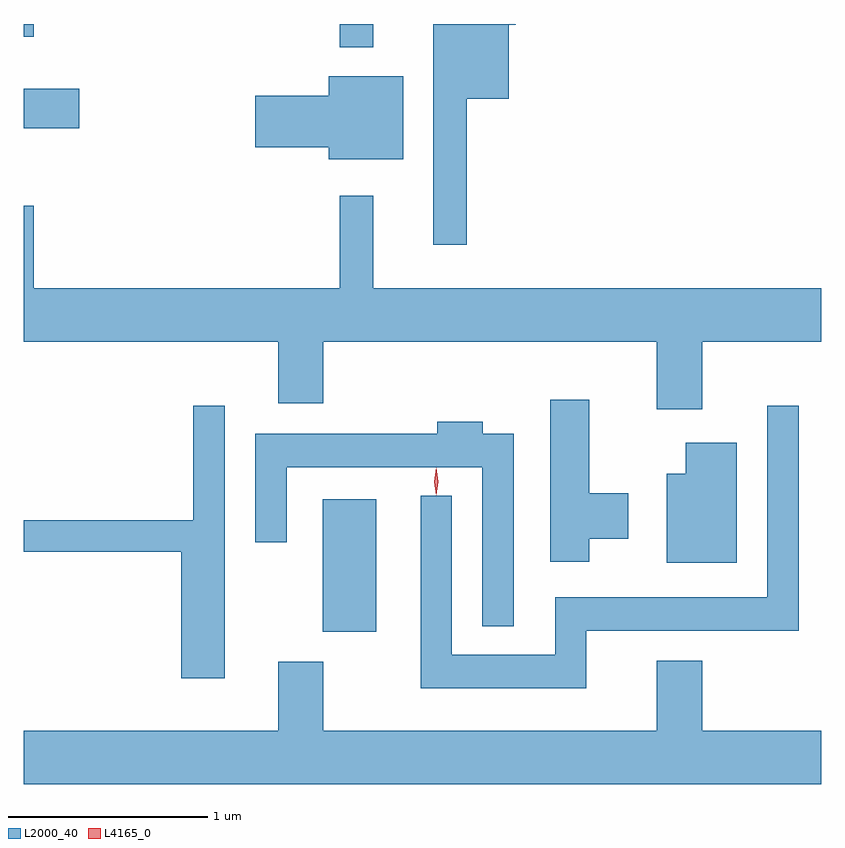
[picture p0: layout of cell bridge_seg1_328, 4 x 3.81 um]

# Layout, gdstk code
import gdstk
lib = gdstk.Library(unit=1e-6, precision=1e-09)
def R(c, l, rs):  # rectangles x0, y0, x1, y1
    for r in rs: c.add(gdstk.rectangle(r[:2], r[2:], *l))
def P(c, l, *ps):  # polygons
    for p in ps: c.add(gdstk.Polygon(p, *l))
L2000_40 = (2000, 40)
L4165_0 = (4165, 0)

bridge_seg1_328 = lib.new_cell('bridge_seg1_328')
R(bridge_seg1_328, L2000_40, [(907.166,884.801,907.434,885.464), (905.666,887.326,905.944,887.524), (907.251,887.733,907.419,887.85), (905.666,887.786,905.714,887.85)])
P(bridge_seg1_328, L2000_40, [(907.889,887.476),(908.099,887.476),(908.099,887.846),(908.134,887.846),(908.134,887.85),(907.721,887.85),(907.721,886.743),(907.889,886.743)],
  [(907.569,887.589),(907.196,887.589),(907.196,887.489),(906.826,887.489),(906.826,887.231),(907.196,887.231),(907.196,887.171),(907.569,887.171)],
  [(909.069,886.256),(909.666,886.256),(909.666,886.524),(907.419,886.524),(907.419,886.988),(907.251,886.988),(907.251,886.524),(905.714,886.524),(905.714,886.939),(905.666,886.939),(905.666,886.256),(906.941,886.256),(906.941,885.946),(907.169,885.946),(907.169,886.256),(908.841,886.256),(908.841,885.916),(909.069,885.916)],
  [(908.504,885.266),(908.699,885.266),(908.699,885.494),(908.504,885.494),(908.504,885.964),(908.306,885.964),(908.306,885.151),(908.504,885.151)],
  [(908.489,884.806),(909.554,884.806),(909.554,885.933),(909.396,885.933),(909.396,884.974),(908.331,884.974),(908.331,884.684),(907.814,884.684),(907.814,885.483),(907.656,885.483),(907.656,884.516),(908.489,884.516)],
  [(906.674,885.933),(906.516,885.933),(906.516,885.359),(905.666,885.359),(905.666,885.201),(906.456,885.201),(906.456,884.566),(906.674,884.566)],
  [(908.124,885.794),(907.969,885.794),(907.969,885.854),(907.741,885.854),(907.741,885.794),(906.826,885.794),(906.826,885.248),(906.984,885.248),(906.984,885.626),(907.966,885.626),(907.966,884.828),(908.124,884.828)],
  [(909.244,885.749),(908.986,885.749),(908.986,885.594),(908.891,885.594),(908.891,885.146),(909.244,885.146)],
  [(909.666,884.304),(909.069,884.304),(909.069,884.654),(908.841,884.654),(908.841,884.304),(907.169,884.304),(907.169,884.649),(906.941,884.649),(906.941,884.304),(905.666,884.304),(905.666,884.036),(909.666,884.036)])
P(bridge_seg1_328, L4165_0, [(907.734,885.487),(907.734,885.488),(907.724,885.554),(907.734,885.62),(907.734,885.62),(907.735,885.62),(907.744,885.554),(907.735,885.488)],
  [(907.734,885.484),(907.725,885.553),(907.734,885.622),(907.735,885.623),(907.735,885.622),(907.745,885.553),(907.735,885.484),(907.735,885.484)])

lib.write_gds('bridge_seg1_328.gds')
